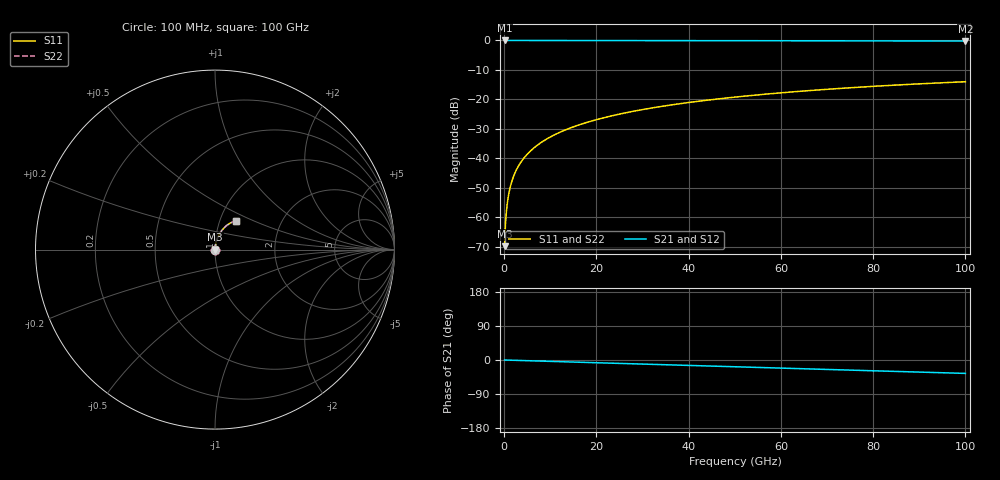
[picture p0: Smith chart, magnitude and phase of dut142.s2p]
! Touchstone file exported from HFSS 2026.1.0
!  File:  C:/ffzhzh/LocalFiles/Ansys_Project_Files/temp_train_TSV_142_1783506474_55944.aedt
!  Generated:  06:29:11 PM Jul  8, 2026
!  Design:  TSV
!  Project:  temp_train_TSV_142_1783506474_55944
! Variables:
!  h_bsmrdl = 2um
!  h_ox = 20um
!  h_rdl = 5um
!  h_sub = 63.29um
!  h_tmrdl = 5um
!  h_tsv = 63.29um
!  h_via = 3um
!  l_bsmrdl = 300um
!  l_sub = 413.62um
!  l_tmrdl = 200um
!  m_sub = 200um
!  pitch = 45.01um
!  r_tsv = 6.81um
!  s_tmrdl = 10um
!  w_bsmrdl = 18um
!  w_sub = 500um
!  w_tmrdl = 12um
!  x_tsv_center1 = 206um
!  x_tsv_center2 = 524um
!  x_tsv_center3 = 736um
!  x_tsv_center4 = 1054um
!  x_tsv_center5 = 1266um
!  x_tsv_center6 = 1584um
# GHz S MA R 50.000000
! Terminal data exported
! Port[1] = TSV1_1_T1
! Port[2] = TSV1_1_T2
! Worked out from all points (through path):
!   1000 points, 100 MHz to 100 GHz, reference 50 ohm
!   highest |S21| = 0.00 dB at 100 MHz (marker M1); lowest = -0.2 dB at 100 GHz (marker M2)
!   group delay of S21, straight-line fit = 982 fs
!   lowest |S11| = -69.7 dB at 100 MHz (marker M3), VSWR 1.00, Z = 50 + j0.0265 ohm
!   |S11| at or under -10 dB: start of sweep to end of sweep
!   |S22| runs from -69.7 to -14.0 dB; largest |S21 - S12| = 4.7e-15
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0.1  0.0003266 54.1  0.9998 -0.0  0.9998 -0.0  0.0003266 54.1
! Gamma 0 0 0 0
! Port Impedance 50 0 50 0
0.4  0.001045 77.2  0.9998 -0.2  0.9998 -0.2  0.001045 77.2
0.7  0.001772 81.3  0.9997 -0.3  0.9997 -0.3  0.001772 81.3
0.8  0.002015 82.0  0.9997 -0.3  0.9997 -0.3  0.002015 82.0
1  0.0025 83.0  0.9997 -0.4  0.9997 -0.4  0.0025 83.0
1.3  0.003223 83.8  0.9997 -0.5  0.9997 -0.5  0.003223 83.8
1.7  0.004178 84.3  0.9996 -0.6  0.9996 -0.6  0.004178 84.3
2.3  0.00559 84.6  0.9995 -0.8  0.9995 -0.8  0.00559 84.6
3  0.007214 84.7  0.9995 -1.1  0.9995 -1.1  0.007214 84.7
3.8  0.009051 84.8  0.9994 -1.4  0.9994 -1.4  0.009051 84.8
4.8  0.01133 84.9  0.9993 -1.8  0.9993 -1.8  0.01133 84.9
6  0.01407 84.8  0.9992 -2.2  0.9992 -2.2  0.01407 84.8
8.8  0.02041 84.3  0.9989 -3.2  0.9989 -3.2  0.02041 84.3
12.4  0.02852 83.3  0.9985 -4.5  0.9985 -4.5  0.02852 83.3
16.8  0.03836 82.0  0.998 -6.1  0.998 -6.1  0.03836 82.0
24.2  0.05473 79.7  0.997 -8.7  0.997 -8.7  0.05473 79.7
33.4  0.07474 76.6  0.9954 -12.0  0.9954 -12.0  0.07474 76.6
41.2  0.09134 74.0  0.9938 -14.8  0.9938 -14.8  0.09134 74.0
50.1  0.1098 70.9  0.9918 -17.9  0.9918 -17.9  0.1098 70.9
66.7  0.1425 65.2  0.9873 -23.8  0.9873 -23.8  0.1425 65.2
83.4  0.1728 59.5  0.9822 -29.6  0.9822 -29.6  0.1728 59.5
100  0.1997 53.9  0.9769 -35.4  0.9769 -35.4  0.1997 53.9
